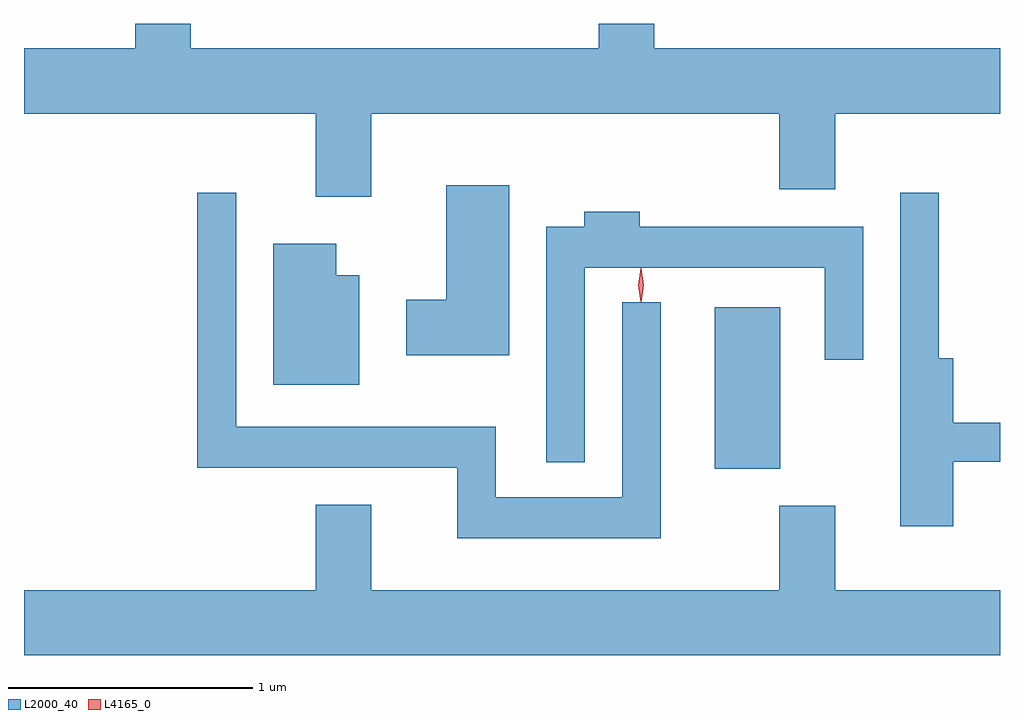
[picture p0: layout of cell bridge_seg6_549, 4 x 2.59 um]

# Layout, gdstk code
import gdstk
lib = gdstk.Library(unit=1e-6, precision=1e-09)
def R(c, l, rs):  # rectangles x0, y0, x1, y1
    for r in rs: c.add(gdstk.rectangle(r[:2], r[2:], *l))
def P(c, l, *ps):  # polygons
    for p in ps: c.add(gdstk.Polygon(p, *l))
L2000_40 = (2000, 40)
L4165_0 = (4165, 0)

bridge_seg6_549 = lib.new_cell('bridge_seg6_549')
R(bridge_seg6_549, L2000_40, [(447.986,1635.161,448.254,1635.824)])
P(bridge_seg6_549, L2000_40, [(446.579,1636.616),(448.251,1636.616),(448.251,1636.306),(448.479,1636.306),(448.479,1636.616),(449.155,1636.616),(449.155,1636.884),(447.739,1636.884),(447.739,1636.986),(447.511,1636.986),(447.511,1636.884),(445.839,1636.884),(445.839,1636.986),(445.611,1636.986),(445.611,1636.884),(445.155,1636.884),(445.155,1636.616),(446.351,1636.616),(446.351,1636.276),(446.579,1636.276)],
  [(447.144,1636.324),(446.886,1636.324),(446.886,1635.854),(446.721,1635.854),(446.721,1635.626),(447.144,1635.626)],
  [(447.764,1635.843),(447.606,1635.843),(447.606,1635.044),(447.089,1635.044),(447.089,1635.334),(446.024,1635.334),(446.024,1636.293),(445.866,1636.293),(445.866,1635.166),(446.931,1635.166),(446.931,1634.876),(447.764,1634.876)],
  [(448.964,1635.191),(449.155,1635.191),(449.155,1635.349),(448.964,1635.349),(448.964,1635.614),(448.904,1635.614),(448.904,1636.293),(448.746,1636.293),(448.746,1634.926),(448.964,1634.926)],
  [(447.454,1635.986),(448.436,1635.986),(448.436,1635.608),(448.594,1635.608),(448.594,1636.154),(447.679,1636.154),(447.679,1636.214),(447.451,1636.214),(447.451,1636.154),(447.296,1636.154),(447.296,1635.188),(447.454,1635.188)],
  [(446.529,1635.954),(446.434,1635.954),(446.434,1636.084),(446.176,1636.084),(446.176,1635.506),(446.529,1635.506)],
  [(448.251,1635.009),(448.251,1634.664),(446.579,1634.664),(446.579,1635.014),(446.351,1635.014),(446.351,1634.664),(445.155,1634.664),(445.155,1634.396),(449.155,1634.396),(449.155,1634.664),(448.479,1634.664),(448.479,1635.009)])
P(bridge_seg6_549, L4165_0, [(447.683,1635.844),(447.673,1635.913),(447.683,1635.982),(447.683,1635.983),(447.684,1635.982),(447.694,1635.913),(447.684,1635.844),(447.684,1635.844)])

lib.write_gds('bridge_seg6_549.gds')
